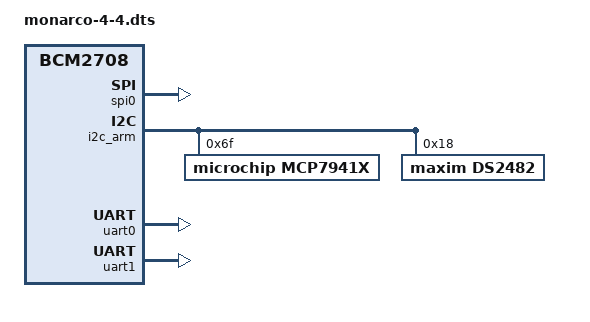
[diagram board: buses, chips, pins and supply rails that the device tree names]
/dts-v1/;
/plugin/;

/*
 * Device Tree Overlay for the Monarco HAT
 *
 * This overlay is flashed in the onboard EEPROM according to the HAT specification.
 *
 * Designed for Raspbian with Linux kernel 4.4.
 *
 * WARNING: Not compatible with Linux kernel 4.9 shipped with Raspbian,
 * UART swapping and aliases are broken.
 *
 * Author: Vlastimil Setka
 * REX Controls s.r.o.
 * https://www.monarco.io
 * https://github.com/monarco/
 * https://www.rexcontrols.com
 */

/ {
    compatible = "brcm,bcm2708";

    /* Enable SPI for Monarco HAT */

    fragment@1 {
        target = <&spi0>;
        __overlay__ {
            status = "okay";
        };
    };

    /* Enable I2C for Monarco HAT */

    fragment@2 {
        target = <&i2c_arm>;
        __overlay__ {
            #address-cells = <1>;
            #size-cells = <0>;
            status = "okay";
            mcp7941x@6f {
                compatible = "microchip,mcp7941x";
                reg = <0x6f>;
            };
            ds2482@18 {
                compatible = "maxim,ds2482";
                reg = <0x18>;
            };
        };
    };

    /* RPi3: switch uart0 (alias serial0) back to HAT pins, uart1 (alias serial1) for Bluetooth */

    /* We can not reference &uart0_pins and &uart1_pins directly
       as they are are not defined in dt before RPi 3, so we define them in &gpio */

    fragment@3 {
        target = <&gpio>;
        __overlay__ {
            uart0_pins: uart0_pins {
                brcm,pins;
                brcm,function;
                brcm,pull;
            };
            uart1_pins: uart1_pins {
                brcm,pins = <32 33>;
                brcm,function = <2>;
                brcm,pull = <0 2>;
            };
        };
    };

    fragment@4 {
        target = <&uart0>;
        __overlay__ {
            pinctrl-names = "default";
            pinctrl-0 = <&uart0_pins>;
            status = "okay";
        };
    };

    fragment@5 {
        target = <&uart1>;
        __overlay__ {
            pinctrl-names = "default";
            pinctrl-0 = <&uart1_pins>;
            status = "okay";
        };
    };

    fragment@6 {
        target-path = "/aliases";
        __overlay__ {
            serial0 = "/soc/uart@7e201000";
            serial1 = "/soc/uart@7e215040";
        };
    };

};
